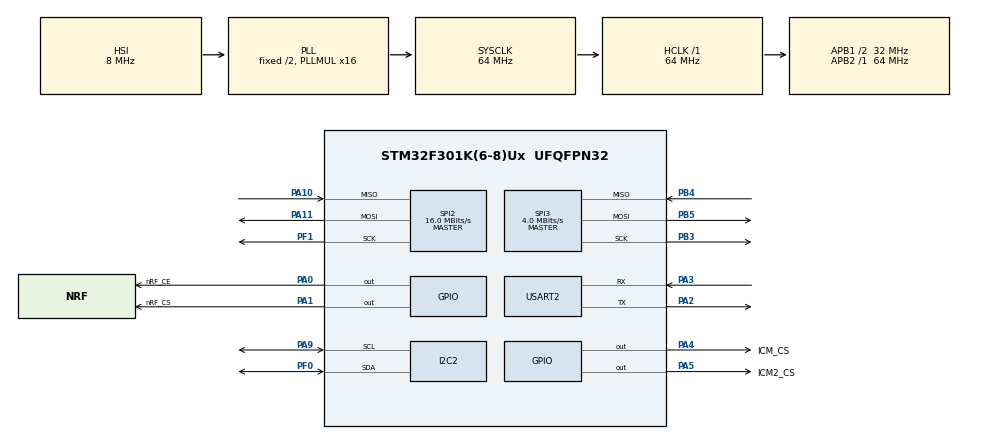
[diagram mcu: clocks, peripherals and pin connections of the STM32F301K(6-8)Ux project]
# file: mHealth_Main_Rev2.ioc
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Mcu.Family=STM32F3
Mcu.Name=STM32F301K(6-8)Ux
Mcu.Package=UFQFPN32
NVIC.PriorityGroup=NVIC_PRIORITYGROUP_4
PA0.GPIO_Label=nRF_CE
PA0.Signal=GPIO_Output
PA1.GPIO_Label=nRF_CS
PA1.Signal=GPIO_Output
PA10.Mode=Full_Duplex_Master
PA10.Signal=SPI2_MISO
PA11.Mode=Full_Duplex_Master
PA11.Signal=SPI2_MOSI
PA13.Mode=Serial_Wire
PA13.Signal=SYS_JTMS-SWDIO
PA14.Mode=Serial_Wire
PA14.Signal=SYS_JTCK-SWCLK
PA2.Mode=Asynchronous
PA2.Signal=USART2_TX
PA3.Mode=Asynchronous
PA3.Signal=USART2_RX
PA4.GPIO_Label=ICM_CS
PA4.Signal=GPIO_Output
PA5.GPIO_Label=ICM2_CS
PA5.Signal=GPIO_Output
PA9.Mode=I2C
PA9.Signal=I2C2_SCL
PB3.Mode=Full_Duplex_Master
PB3.Signal=SPI3_SCK
PB4.Mode=Full_Duplex_Master
PB4.Signal=SPI3_MISO
PB5.Mode=Full_Duplex_Master
PB5.Signal=SPI3_MOSI
PF0-OSC_IN.Mode=I2C
PF0-OSC_IN.Signal=I2C2_SDA
PF1-OSC_OUT.Mode=Full_Duplex_Master
PF1-OSC_OUT.Signal=SPI2_SCK
ProjectManager.HeapSize=0x200
ProjectManager.StackSize=0x400
ProjectManager.TargetToolchain=STM32CubeIDE
RCC.AHBFreq_Value=64000000
RCC.APB1CLKDivider=RCC_HCLK_DIV2
RCC.APB1Freq_Value=32000000
RCC.APB1TimFreq_Value=64000000
RCC.APB2Freq_Value=64000000
RCC.APB2TimFreq_Value=64000000
RCC.CortexFreq_Value=64000000
RCC.HCLKFreq_Value=64000000
RCC.HSE_VALUE=8000000
RCC.HSI_VALUE=8000000
RCC.PLLMUL=RCC_PLL_MUL16
RCC.SYSCLKFreq_VALUE=64000000
RCC.SYSCLKSourceVirtual=RCC_SYSCLKSOURCE_PLLCLK
SPI2.CLKPhase=SPI_PHASE_2EDGE
SPI2.CLKPolarity=SPI_POLARITY_HIGH
SPI2.CalculateBaudRate=16.0 MBits/s
SPI2.DataSize=SPI_DATASIZE_8BIT
SPI2.Direction=SPI_DIRECTION_2LINES
SPI2.Mode=SPI_MODE_MASTER
SPI2.VirtualType=VM_MASTER
SPI3.BaudRatePrescaler=SPI_BAUDRATEPRESCALER_8
SPI3.CalculateBaudRate=4.0 MBits/s
SPI3.DataSize=SPI_DATASIZE_8BIT
SPI3.Direction=SPI_DIRECTION_2LINES
SPI3.Mode=SPI_MODE_MASTER
SPI3.VirtualType=VM_MASTER
USART2.VirtualMode-Asynchronous=VM_ASYNC
board=custom

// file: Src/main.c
/* USER CODE BEGIN Header */
/**
  ******************************************************************************
  * @file           : main.c
  * @brief          : Main program body
  ******************************************************************************
  * @attention
  *
  * <h2><center>&copy; Copyright (c) 2020 STMicroelectronics.
  * All rights reserved.</center></h2>
  *
  * This software component is licensed by ST under BSD 3-Clause license,
  * the "License"; You may not use this file except in compliance with the
  * License. You may obtain a copy of the License at:
  *                        opensource.org/licenses/BSD-3-Clause
  *
  ******************************************************************************
  */
/* USER CODE END Header */

#include "main.h"

/* USER CODE BEGIN Includes */
#include "ICM_20948.h"
#include "ICM_20948_2.h"
#include "MY_NRF24.h"
/* USER CODE END Includes */

I2C_HandleTypeDef hi2c2;

SPI_HandleTypeDef hspi2;
SPI_HandleTypeDef hspi3;

UART_HandleTypeDef huart2;

/* USER CODE BEGIN PV */
int16_t tx_buffer[20];
char uart_buffer[100];
uint64_t TxpipeAddrs = 0x11223344AA;
char AckPayload[32];
/* USER CODE END PV */

void SystemClock_Config(void);
static void MX_GPIO_Init(void);
static void MX_I2C2_Init(void);
static void MX_SPI2_Init(void);
static void MX_SPI3_Init(void);
static void MX_USART2_UART_Init(void);

int main(void)
{

  /* MCU Configuration--------------------------------------------------------*/

  /* Reset of all peripherals, Initializes the Flash interface and the Systick. */
  HAL_Init();

  /* Configure the system clock */
  SystemClock_Config();

  /* Initialize all configured peripherals */
  MX_GPIO_Init();
  MX_I2C2_Init();
  MX_SPI2_Init();
  MX_SPI3_Init();
  MX_USART2_UART_Init();
  /* USER CODE BEGIN 2 */
  NRF24_begin(nRF_CS_GPIO_Port, nRF_CS_Pin, nRF_CE_Pin, hspi3);
     nrf24_DebugUART_Init(huart2);

     NRF24_stopListening();
     NRF24_openWritingPipe(TxpipeAddrs);
     NRF24_setAutoAck(true);
     NRF24_setChannel(52);
     NRF24_setPayloadSize(32);

     NRF24_enableDynamicPayloads();
     NRF24_enableAckPayload();

     printRadioSettings();

     ICM_SelectBank(USER_BANK_0);
     ICM_PowerOn();
     ICM2_SelectBank(USER_BANK_0);
     ICM2_PowerOn();
  /* USER CODE END 2 */

  /* Infinite loop */
  while (1)
  {

    /* USER CODE BEGIN 3 */
	ICM_SelectBank(USER_BANK_0);
	HAL_Delay(10);

	// Obtain accelerometer and gyro data
	ICM_ReadAccelGyro();
	ICM2_ReadAccelGyro();

	// Obtain magnetometer data
	int16_t mag_data[3];
	ICM_ReadMag(mag_data);
	int16_t mag_data_2[3];
	ICM2_ReadMag(mag_data_2);

//	ppgunsigned16 = 15;
//	//Read PPG sensor data
//	if(MAX86150_check() > 0) {
//			ppgunsigned16 = (uint16_t) (MAX86150_getFIFORed()>>2);
//			ppgunsigned16 = 0;
//	}

	// Print raw, but joined, axis data values to screen

	memcpy(tx_buffer, accel_data, sizeof(accel_data));
	memcpy(&tx_buffer[3], gyro_data, sizeof(gyro_data));
	memcpy(&tx_buffer[6], mag_data, sizeof(mag_data));
	memcpy(&tx_buffer[9], accel_data_2, sizeof(accel_data_2));
	memcpy(&tx_buffer[12], gyro_data_2, sizeof(gyro_data_2));
	memcpy(&tx_buffer[15], mag_data_2, sizeof(mag_data_2));

	// Print raw, but joined, axis data values to screen
	sprintf(uart_buffer,
			"1: (Ax: %i | Ay: %i | Az: %i)   "
			"(Gx: %i | Gy: %i | Gz: %i)   "
			"(Mx: %i | My: %i | Mz: %i)   "
			" \r\n",
			accel_data[0], accel_data[1], accel_data[2],
			gyro_data[0], gyro_data[1], gyro_data[2],
			mag_data[0], mag_data[1], mag_data[2]);
	HAL_UART_Transmit(&huart2, (uint8_t*) uart_buffer, strlen(uart_buffer), 1000);

	sprintf(uart_buffer,
				"2`: (Ax: %i | Ay: %i | Az: %i)   "
				"(Gx: %i | Gy: %i | Gz: %i)   "
				"(Mx: %i | My: %i | Mz: %i)   "
				" \r\n",
				accel_data_2[0], accel_data_2[1], accel_data_2[2],
				gyro_data_2[0], gyro_data_2[1], gyro_data_2[2],
				mag_data_2[0], mag_data_2[1], mag_data_2[2]);
	HAL_UART_Transmit(&huart2, (uint8_t*) uart_buffer, strlen(uart_buffer), 1000);

	if(NRF24_write(tx_buffer, sizeof(tx_buffer))) {
		HAL_UART_Transmit(&huart2, (uint8_t *)"Transmitted Successfully\r\n", strlen("Transmitted Successfully\r\n"), 10);
		char myDataack[80];
		sprintf(myDataack, "AckPayload:  %s \r\n", AckPayload);
		HAL_UART_Transmit(&huart2, (uint8_t *)myDataack, strlen(myDataack), 10);
	}

  }
  /* USER CODE END 3 */
}

void SystemClock_Config(void)
{
  RCC_OscInitTypeDef RCC_OscInitStruct = {0};
  RCC_ClkInitTypeDef RCC_ClkInitStruct = {0};
  RCC_PeriphCLKInitTypeDef PeriphClkInit = {0};

  /** Initializes the CPU, AHB and APB busses clocks
  */
  RCC_OscInitStruct.OscillatorType = RCC_OSCILLATORTYPE_HSI;
  RCC_OscInitStruct.HSIState = RCC_HSI_ON;
  RCC_OscInitStruct.HSICalibrationValue = RCC_HSICALIBRATION_DEFAULT;
  RCC_OscInitStruct.PLL.PLLState = RCC_PLL_ON;
  RCC_OscInitStruct.PLL.PLLSource = RCC_PLLSOURCE_HSI;
  RCC_OscInitStruct.PLL.PLLMUL = RCC_PLL_MUL16;
  if (HAL_RCC_OscConfig(&RCC_OscInitStruct) != HAL_OK)
  {
    Error_Handler();
  }
  /** Initializes the CPU, AHB and APB busses clocks
  */
  RCC_ClkInitStruct.ClockType = RCC_CLOCKTYPE_HCLK|RCC_CLOCKTYPE_SYSCLK
                              |RCC_CLOCKTYPE_PCLK1|RCC_CLOCKTYPE_PCLK2;
  RCC_ClkInitStruct.SYSCLKSource = RCC_SYSCLKSOURCE_PLLCLK;
  RCC_ClkInitStruct.AHBCLKDivider = RCC_SYSCLK_DIV1;
  RCC_ClkInitStruct.APB1CLKDivider = RCC_HCLK_DIV2;
  RCC_ClkInitStruct.APB2CLKDivider = RCC_HCLK_DIV1;

  if (HAL_RCC_ClockConfig(&RCC_ClkInitStruct, FLASH_LATENCY_2) != HAL_OK)
  {
    Error_Handler();
  }
  PeriphClkInit.PeriphClockSelection = RCC_PERIPHCLK_I2C2;
  PeriphClkInit.I2c2ClockSelection = RCC_I2C2CLKSOURCE_HSI;
  if (HAL_RCCEx_PeriphCLKConfig(&PeriphClkInit) != HAL_OK)
  {
    Error_Handler();
  }
}

static void MX_I2C2_Init(void)
{

  hi2c2.Instance = I2C2;
  hi2c2.Init.Timing = 0x2000090E;
  hi2c2.Init.OwnAddress1 = 0;
  hi2c2.Init.AddressingMode = I2C_ADDRESSINGMODE_7BIT;
  hi2c2.Init.DualAddressMode = I2C_DUALADDRESS_DISABLE;
  hi2c2.Init.OwnAddress2 = 0;
  hi2c2.Init.OwnAddress2Masks = I2C_OA2_NOMASK;
  hi2c2.Init.GeneralCallMode = I2C_GENERALCALL_DISABLE;
  hi2c2.Init.NoStretchMode = I2C_NOSTRETCH_DISABLE;
  if (HAL_I2C_Init(&hi2c2) != HAL_OK)
  {
    Error_Handler();
  }
  /** Configure Analogue filter
  */
  if (HAL_I2CEx_ConfigAnalogFilter(&hi2c2, I2C_ANALOGFILTER_ENABLE) != HAL_OK)
  {
    Error_Handler();
  }
  /** Configure Digital filter
  */
  if (HAL_I2CEx_ConfigDigitalFilter(&hi2c2, 0) != HAL_OK)
  {
    Error_Handler();
  }

}

static void MX_SPI2_Init(void)
{

  /* SPI2 parameter configuration*/
  hspi2.Instance = SPI2;
  hspi2.Init.Mode = SPI_MODE_MASTER;
  hspi2.Init.Direction = SPI_DIRECTION_2LINES;
  hspi2.Init.DataSize = SPI_DATASIZE_8BIT;
  hspi2.Init.CLKPolarity = SPI_POLARITY_HIGH;
  hspi2.Init.CLKPhase = SPI_PHASE_2EDGE;
  hspi2.Init.NSS = SPI_NSS_SOFT;
  hspi2.Init.BaudRatePrescaler = SPI_BAUDRATEPRESCALER_2;
  hspi2.Init.FirstBit = SPI_FIRSTBIT_MSB;
  hspi2.Init.TIMode = SPI_TIMODE_DISABLE;
  hspi2.Init.CRCCalculation = SPI_CRCCALCULATION_DISABLE;
  hspi2.Init.CRCPolynomial = 7;
  hspi2.Init.CRCLength = SPI_CRC_LENGTH_DATASIZE;
  hspi2.Init.NSSPMode = SPI_NSS_PULSE_DISABLE;
  if (HAL_SPI_Init(&hspi2) != HAL_OK)
  {
    Error_Handler();
  }

}

static void MX_SPI3_Init(void)
{

  /* SPI3 parameter configuration*/
  hspi3.Instance = SPI3;
  hspi3.Init.Mode = SPI_MODE_MASTER;
  hspi3.Init.Direction = SPI_DIRECTION_2LINES;
  hspi3.Init.DataSize = SPI_DATASIZE_8BIT;
  hspi3.Init.CLKPolarity = SPI_POLARITY_LOW;
  hspi3.Init.CLKPhase = SPI_PHASE_1EDGE;
  hspi3.Init.NSS = SPI_NSS_SOFT;
  hspi3.Init.BaudRatePrescaler = SPI_BAUDRATEPRESCALER_8;
  hspi3.Init.FirstBit = SPI_FIRSTBIT_MSB;
  hspi3.Init.TIMode = SPI_TIMODE_DISABLE;
  hspi3.Init.CRCCalculation = SPI_CRCCALCULATION_DISABLE;
  hspi3.Init.CRCPolynomial = 7;
  hspi3.Init.CRCLength = SPI_CRC_LENGTH_DATASIZE;
  hspi3.Init.NSSPMode = SPI_NSS_PULSE_ENABLE;
  if (HAL_SPI_Init(&hspi3) != HAL_OK)
  {
    Error_Handler();
  }

}

static void MX_USART2_UART_Init(void)
{

  huart2.Instance = USART2;
  huart2.Init.BaudRate = 38400;
  huart2.Init.WordLength = UART_WORDLENGTH_8B;
  huart2.Init.StopBits = UART_STOPBITS_1;
  huart2.Init.Parity = UART_PARITY_NONE;
  huart2.Init.Mode = UART_MODE_TX_RX;
  huart2.Init.HwFlowCtl = UART_HWCONTROL_NONE;
  huart2.Init.OverSampling = UART_OVERSAMPLING_16;
  huart2.Init.OneBitSampling = UART_ONE_BIT_SAMPLE_DISABLE;
  huart2.AdvancedInit.AdvFeatureInit = UART_ADVFEATURE_NO_INIT;
  if (HAL_UART_Init(&huart2) != HAL_OK)
  {
    Error_Handler();
  }

}

static void MX_GPIO_Init(void)
{
  GPIO_InitTypeDef GPIO_InitStruct = {0};

  /* GPIO Ports Clock Enable */
  __HAL_RCC_GPIOF_CLK_ENABLE();
  __HAL_RCC_GPIOA_CLK_ENABLE();
  __HAL_RCC_GPIOB_CLK_ENABLE();

  /*Configure GPIO pin Output Level */
  HAL_GPIO_WritePin(GPIOA, nRF_CE_Pin|nRF_CS_Pin|ICM_CS_Pin|ICM2_CS_Pin, GPIO_PIN_RESET);

  /*Configure GPIO pins : nRF_CE_Pin nRF_CS_Pin ICM_CS_Pin ICM2_CS_Pin */
  GPIO_InitStruct.Pin = nRF_CE_Pin|nRF_CS_Pin|ICM_CS_Pin|ICM2_CS_Pin;
  GPIO_InitStruct.Mode = GPIO_MODE_OUTPUT_PP;
  GPIO_InitStruct.Pull = GPIO_NOPULL;
  GPIO_InitStruct.Speed = GPIO_SPEED_FREQ_LOW;
  HAL_GPIO_Init(GPIOA, &GPIO_InitStruct);

}

void Error_Handler(void)
{
}

/************************ (C) COPYRIGHT STMicroelectronics *****END OF FILE****/
